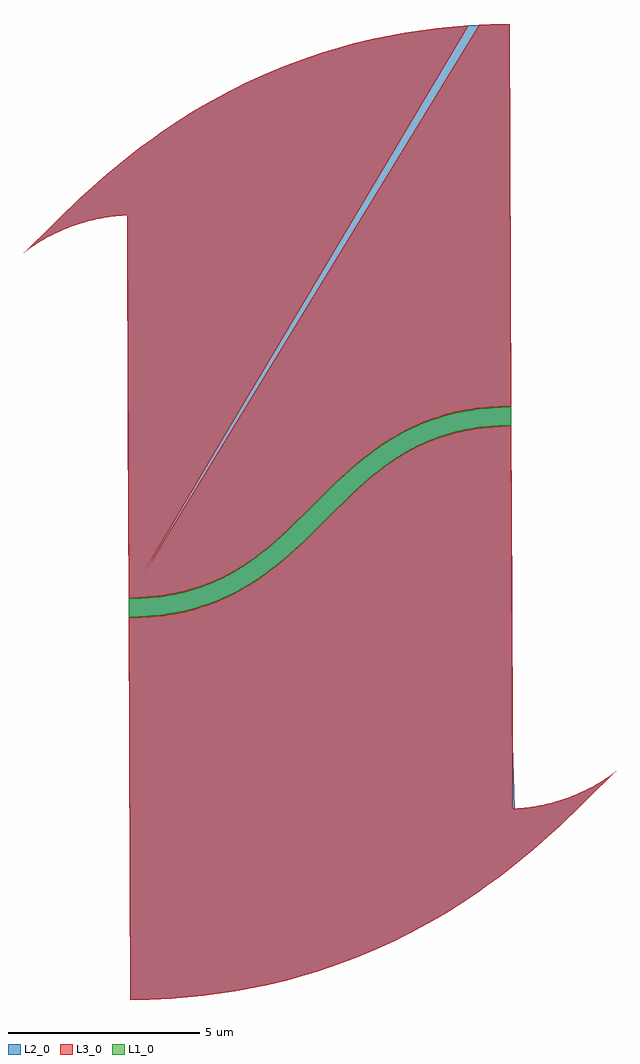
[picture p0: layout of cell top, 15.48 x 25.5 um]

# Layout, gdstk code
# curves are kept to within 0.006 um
import gdstk
lib = gdstk.Library(unit=1e-6, precision=1e-09)
def P(c, l, *ps):  # polygons
    for p in ps: c.add(gdstk.Polygon(p, *l))
L1_0 = (1, 0)
L2_0 = (2, 0)
L3_0 = (3, 0)

bbend_1 = lib.new_cell('BBend_1')
P(bbend_1, L1_0, [(-0.001,0.25),(0.331,0.258),(0.647,0.281),(1.044,0.333),(1.325,0.388),(1.593,0.456),(1.931,0.563),(2.251,0.69),(2.479,0.797),(2.77,0.954),(3.047,1.126),(3.313,1.311),(3.631,1.559),(3.878,1.769),(4.237,2.1),(5.297,3.146),(5.792,3.605),(6.051,3.827),(6.322,4.04),(6.605,4.243),(6.827,4.387),(7.217,4.609),(7.549,4.768),(7.9,4.907),(8.272,5.026),(8.566,5.1),(8.979,5.177),(9.416,5.227),(9.761,5.246),(9.777,4.747),(9.353,4.719),(8.956,4.667),(8.585,4.591),(8.235,4.493),(7.827,4.343),(7.521,4.203),(7.23,4.046),(6.819,3.783),(6.369,3.441),(6.002,3.122),(5.645,2.787),(4.582,1.738),(4.08,1.283),(3.815,1.065),(3.395,0.757),(3.097,0.567),(2.783,0.391),(2.451,0.232),(2.19,0.126),(1.916,0.031),(1.631,-0.052),(1.333,-0.121),(1.021,-0.177),(0.696,-0.217),(0.355,-0.242),(0.001,-0.25)],
  [(9.761,5.246),(9.88,5.249),(9.999,5.25),(10.001,4.75),(9.888,4.749),(9.777,4.747)])
P(bbend_1, L2_0, [(-0.04,10.25),(-0.397,10.226),(-0.693,10.181),(-1.019,10.108),(-1.44,9.978),(-1.763,9.85),(-2.186,9.639),(-2.457,9.475),(-2.738,9.268),(-1.662,10.327),(-1.277,10.693),(-0.571,11.324),(-0.007,11.787),(0.637,12.271),(1.363,12.764),(1.963,13.129),(2.608,13.484),(3.063,13.71),(3.535,13.927),(4.275,14.228),(5.047,14.497),(5.845,14.728),(6.388,14.86),(6.937,14.972),(7.77,15.105),(8.607,15.194),(9.444,15.241),(10.094,-5.248),(10.467,-5.217),(10.854,-5.148),(11.188,-5.061),(11.522,-4.948),(11.914,-4.78),(12.247,-4.605),(12.541,-4.418),(12.738,-4.268),(11.662,-5.327),(11.06,-5.893),(10.299,-6.552),(9.696,-7.027),(9.011,-7.517),(8.442,-7.886),(8.037,-8.129),(7.612,-8.367),(6.937,-8.71),(6.222,-9.031),(5.725,-9.228),(5.214,-9.412),(4.424,-9.656),(3.612,-9.86),(2.786,-10.021),(1.951,-10.139),(1.114,-10.214),(0.278,-10.248),(0.04,-10.25)],
  [(9.444,15.241),(9.722,15.248),(9.96,15.25),(10.04,-5.25),(10.045,-5.25),(10.094,-5.248)])

top = lib.new_cell('top')
P(top, L3_0, [(-0.001,0.25),(0,0.126),(0,0.25)],
  [(0.278,-10.248),(1.114,-10.214),(1.951,-10.139),(2.786,-10.021),(3.612,-9.86),(4.424,-9.656),(5.214,-9.412),(5.725,-9.228),(6.222,-9.031),(6.937,-8.71),(7.612,-8.367),(8.037,-8.129),(8.442,-7.886),(9.011,-7.517),(9.696,-7.027),(10.299,-6.552),(11.06,-5.893),(11.662,-5.327),(12.738,-4.268),(12.457,-4.475),(12.186,-4.639),(11.763,-4.85),(11.44,-4.978),(11.019,-5.108),(10.693,-5.181),(10.397,-5.226),(10.04,-5.25),(10.018,0.25),(2.491,0.25),(2.19,0.126),(1.916,0.031),(1.631,-0.052),(1.333,-0.121),(1.021,-0.177),(0.696,-0.217),(0.355,-0.242),(0.001,-0.25),(0.04,-10.25)],
  [(-0.018,4.708),(0,0.25),(0.438,0.264),(0.848,0.304),(1.139,0.35),(1.505,0.432),(1.931,0.563),(2.251,0.69),(2.553,0.835),(2.91,1.038),(3.377,1.359),(3.631,1.559),(3.878,1.769),(4.355,2.213),(5.418,3.262),(5.665,3.492),(6.051,3.827),(6.391,4.092),(6.752,4.34),(7.057,4.523),(7.418,4.708),(2.728,4.708),(0,0.25),(2.647,4.708)],
  [(10.001,4.708),(9.252,4.708),(8.956,4.667),(8.585,4.591),(8.235,4.493),(7.827,4.343),(7.521,4.203),(7.23,4.046),(6.953,3.874),(6.687,3.689),(6.369,3.441),(6.122,3.231),(5.645,2.787),(4.459,1.622),(4.08,1.283),(3.815,1.065),(3.467,0.807),(3.173,0.613),(2.783,0.391),(2.491,0.25),(10.018,0.25)],
  [(9.96,15.25),(9.166,15.23),(2.728,4.708),(7.418,4.708),(7.722,4.84),(7.991,4.939),(8.272,5.026),(8.566,5.1),(8.979,5.177),(9.304,5.217),(9.645,5.242),(9.999,5.25)],
  [(8.886,15.214),(8.049,15.139),(7.214,15.021),(6.388,14.86),(5.576,14.656),(4.786,14.412),(4.024,14.131),(3.297,13.82),(2.608,13.484),(1.963,13.129),(1.363,12.764),(0.637,12.271),(-0.007,11.787),(-0.571,11.324),(-1.277,10.693),(-1.662,10.327),(-2.736,9.27),(-2.457,9.475),(-2.122,9.674),(-1.763,9.85),(-1.44,9.978),(-1.019,10.108),(-0.693,10.181),(-0.397,10.226),(-0.04,10.25),(-0.018,4.708),(2.647,4.708)],
  [(9.777,4.747),(9.669,4.742),(9.562,4.736),(9.457,4.729),(9.353,4.719),(9.252,4.708),(10.001,4.708),(10.001,4.75),(9.888,4.749)])
top.add(gdstk.Reference(bbend_1, (0,0)))

lib.write_gds('top.gds')
